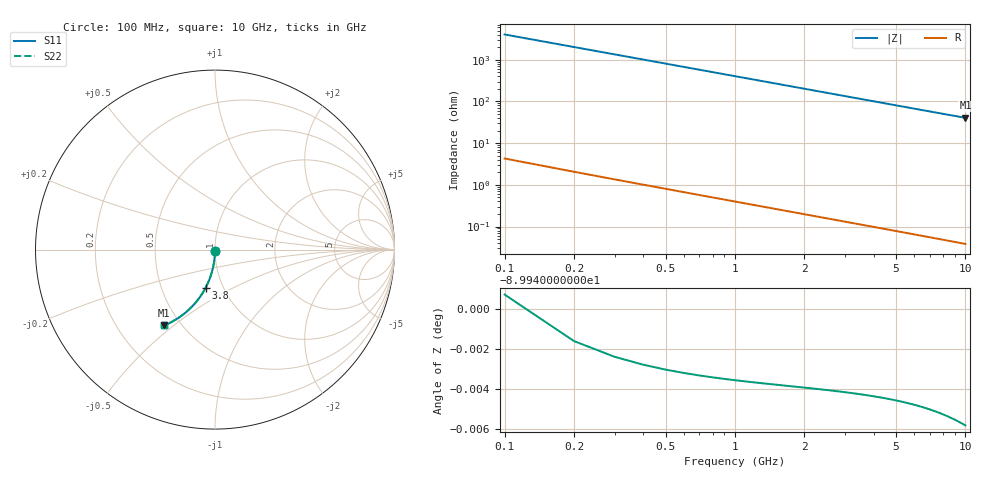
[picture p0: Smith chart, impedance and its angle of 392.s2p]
# Hz S RI R 50.00
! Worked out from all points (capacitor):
!   100 points, 100 MHz to 10 GHz, reference 50 ohm
!   read as one part in shunt: C = 394 fF near 100 MHz
!   lowest |Z| = 40.5 ohm at 10 GHz (marker M1)
!   S11 on the Smith chart (normalised r, x): 100 MHz: 1.00, -0.01; 3.8 GHz: 0.82, -0.37; 10 GHz: 0.41, -0.46
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1e8  1.12e-05 -0.00592  0.9999 -0.00646  0.9999 -0.00646  1.12e-05 -0.00592
2e8  -0.000109 -0.0118  0.9998 -0.0129  0.9998 -0.0129  -0.000109 -0.0118
3e8  -0.000306 -0.0177  0.9996 -0.0194  0.9996 -0.0194  -0.000306 -0.0177
4e8  -0.000579 -0.0237  0.9993 -0.0258  0.9993 -0.0258  -0.000579 -0.0237
5e8  -0.000929 -0.0296  0.999 -0.0323  0.999 -0.0323  -0.000929 -0.0296
6e8  -0.00135 -0.0355  0.9985 -0.0387  0.9985 -0.0387  -0.00135 -0.0355
7e8  -0.00186 -0.0414  0.998 -0.0451  0.998 -0.0451  -0.00186 -0.0414
8e8  -0.00243 -0.0472  0.9974 -0.0516  0.9974 -0.0516  -0.00243 -0.0472
9e8  -0.00309 -0.0531  0.9968 -0.058  0.9968 -0.058  -0.00309 -0.0531
1.1e9  -0.00462 -0.0648  0.9952 -0.0708  0.9952 -0.0708  -0.00462 -0.0648
1.4e9  -0.00748 -0.0823  0.9924 -0.0898  0.9924 -0.0898  -0.00748 -0.0823
1.8e9  -0.0123 -0.1053  0.9875 -0.115  0.9875 -0.115  -0.0123 -0.1053
2.1e9  -0.0167 -0.1223  0.9831 -0.1337  0.9831 -0.1337  -0.0167 -0.1223
2.5e9  -0.0235 -0.1446  0.9763 -0.1582  0.9763 -0.1582  -0.0235 -0.1446
2.9e9  -0.0314 -0.1664  0.9683 -0.1822  0.9683 -0.1822  -0.0314 -0.1664
3.4e9  -0.0427 -0.1929  0.957 -0.2113  0.957 -0.2113  -0.0427 -0.1929
3.8e9  -0.0529 -0.2133  0.9468 -0.2339  0.9468 -0.2339  -0.0529 -0.2133
4.4e9  -0.0697 -0.2426  0.9299 -0.2665  0.9299 -0.2665  -0.0697 -0.2426
5.1e9  -0.0917 -0.2745  0.9078 -0.3023  0.9078 -0.3023  -0.0917 -0.2745
6.7e9  -0.1489 -0.3375  0.8503 -0.3743  0.8503 -0.3743  -0.1489 -0.3375
8.4e9  -0.2166 -0.3886  0.7822 -0.435  0.7822 -0.435  -0.2166 -0.3886
1e10  -0.2825 -0.4223  0.7158 -0.4779  0.7158 -0.4779  -0.2825 -0.4223
